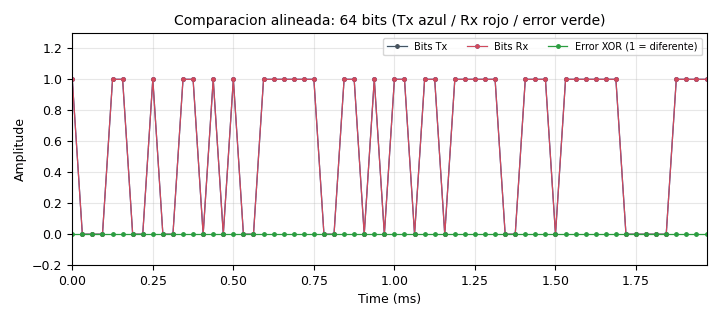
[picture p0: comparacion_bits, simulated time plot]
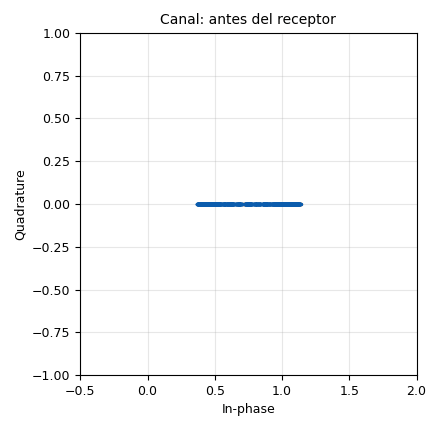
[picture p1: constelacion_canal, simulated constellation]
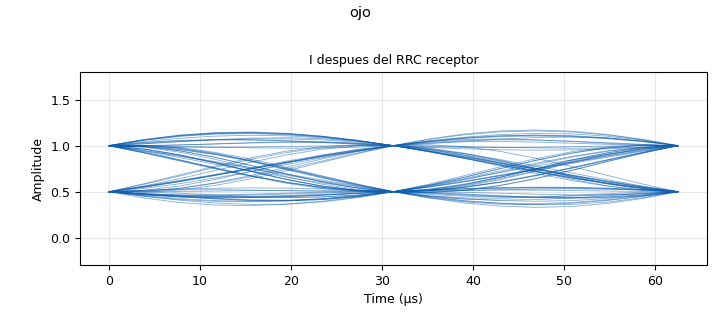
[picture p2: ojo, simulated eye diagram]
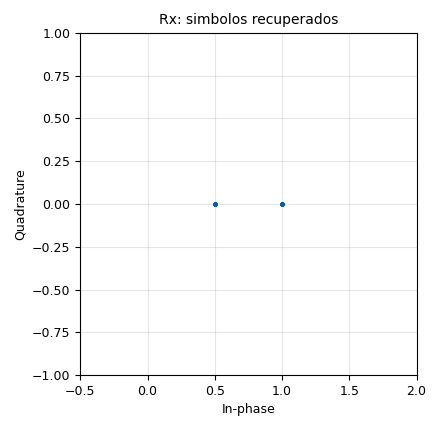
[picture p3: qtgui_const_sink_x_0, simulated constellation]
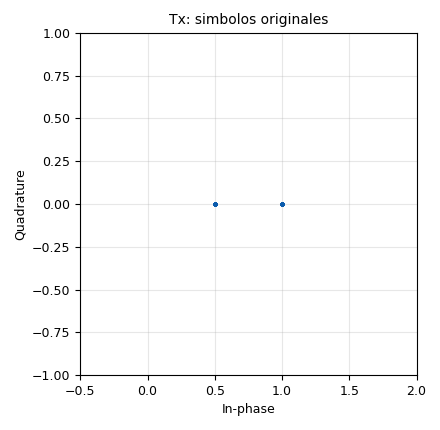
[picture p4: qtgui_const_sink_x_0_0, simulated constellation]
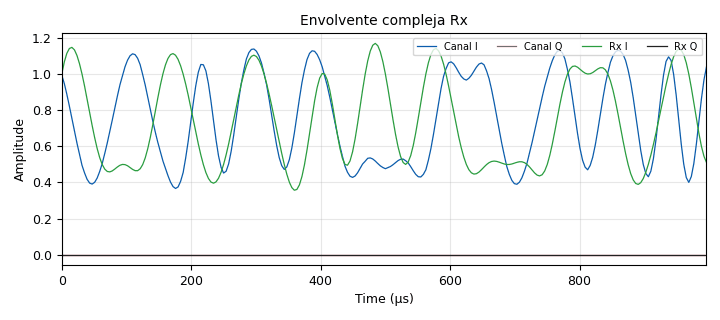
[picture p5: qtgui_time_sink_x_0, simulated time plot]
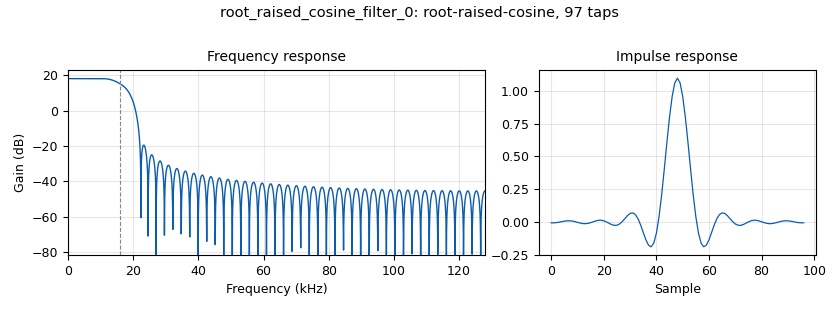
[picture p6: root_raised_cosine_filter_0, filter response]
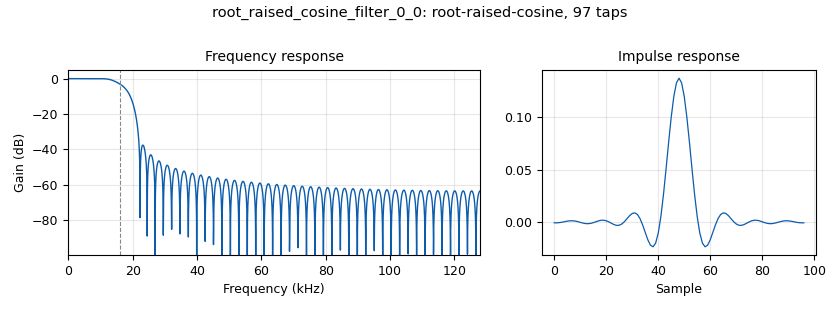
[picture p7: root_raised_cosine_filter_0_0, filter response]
options:
  parameters:
    author: Adaptacion de ASK_Guia2 para prueba sin hardware
    description: Version para probar modulacion ASK en GNU Radio Companion sin conectar USRP. Basada en el flujo de simulacion ASK de Guia 2.
    generate_options: qt_gui
    id: ASK_SIMULACION_SIN_USRP
    output_language: python
    title: ASK - Simulacion sin USRP - Tx, canal y Rx
  states: {}

blocks:
- name: M
  id: variable
  parameters:
    value: len(tabla_de_verdad_constelacion)
  states: {}
- name: Rb
  id: variable
  parameters:
    value: Rs*bps
  states: {}
- name: Rs
  id: variable
  parameters:
    value: '32000'
  states: {}
- name: Sps
  id: variable
  parameters:
    value: '8'
  states: {}
- name: beta
  id: variable
  parameters:
    value: '0.35'
  states: {}
- name: bps
  id: variable
  parameters:
    value: int(math.log(M,2))
  states: {}
- name: fft_size
  id: variable
  parameters:
    value: '2048'
  states: {}
- name: interferencia_amp
  id: variable_qtgui_range
  parameters:
    gui_hint: 1,1,1,2
    label: Amplitud interferencia (0 = apagada)
    start: '0'
    step: '0.05'
    stop: '1'
    value: '0'
  states: {}
- name: n_taps
  id: variable
  parameters:
    value: span*Sps+1
  states: {}
- name: noise_amp
  id: variable
  parameters:
    value: ruido_activo*math.sqrt(potencia_tx/10**(snr_db/10))
  states: {}
- name: potencia_tx
  id: variable
  parameters:
    value: 0.5625*sum(sum(taps_tx[p::Sps])**2 for p in range(Sps))/Sps + 0.0625*sum(t*t for t in taps_tx)/Sps
  states: {}
- name: ruido_activo
  id: variable_qtgui_check_box
  parameters:
    'false': '0'
    gui_hint: 0,0,1,1
    label: Activar ruido AWGN
    'true': '1'
    type: int
    value: '0'
  states: {}
- name: samp_rate
  id: variable
  parameters:
    value: Rs*Sps
  states: {}
- name: snr_db
  id: variable_qtgui_range
  parameters:
    gui_hint: 1,0,1,1
    label: SNR nominal (dB)
    start: '-4'
    step: '2'
    stop: '20'
    value: '8'
  states: {}
- name: span
  id: variable
  parameters:
    value: '12'
  states: {}
- name: tabla_de_verdad_constelacion
  id: variable
  parameters:
    value: (0.5+0j, 1.0+0j)
  states: {}
- name: taps_tx
  id: variable
  parameters:
    value: firdes.root_raised_cosine(Sps,samp_rate,Rs,beta,n_taps)
  states: {}
- name: alinear_rx
  id: blocks_skiphead
  parameters:
    num_items: n_taps-1
    type: complex
  states: {}
- name: analog_noise_source_x_0
  id: analog_noise_source_x
  parameters:
    amp: noise_amp
    noise_type: analog.GR_GAUSSIAN
    seed: '0'
    type: complex
  states: {}
- name: analog_random_source_x_0
  id: analog_random_source_x
  parameters:
    max: '2'
    min: '0'
    num_samps: '100000'
    repeat: 'True'
    type: byte
  states: {}
- name: analog_sig_source_x_0
  id: analog_sig_source_x
  parameters:
    amp: interferencia_amp
    freq: '1000'
    offset: '0'
    phase: '0'
    samp_rate: samp_rate
    type: complex
    waveform: analog.GR_SIN_WAVE
  states: {}
- name: ber_media
  id: blocks_moving_average_xx
  parameters:
    length: '10000'
    max_iter: '4000'
    scale: 1/10000
    type: float
  states: {}
- name: bits_rx_float
  id: blocks_uchar_to_float
  parameters: {}
  states: {}
- name: bits_to_symbols
  id: blocks_repack_bits_bb
  parameters:
    endianness: gr.GR_MSB_FIRST
    k: '1'
    l: bps
  states: {}
- name: bits_tx_float
  id: blocks_uchar_to_float
  parameters: {}
  states: {}
- name: blocks_add_xx_0
  id: blocks_add_xx
  parameters:
    type: complex
  states: {}
- name: blocks_add_xx_1
  id: blocks_add_xx
  parameters:
    type: complex
  states: {}
- name: blocks_complex_to_mag_0
  id: blocks_complex_to_mag
  parameters: {}
  states: {}
- name: blocks_float_to_uchar_0
  id: blocks_float_to_uchar
  parameters:
    bias: '0'
    scale: '1'
    vlen: '1'
  states: {}
- name: blocks_threshold_ff_0
  id: blocks_threshold_ff
  parameters:
    high: '0.75'
    init: '0'
    low: '0.75'
  states: {}
- name: comparacion_bits
  id: qtgui_time_sink_x
  parameters:
    entags: 'False'
    grid: 'True'
    gui_hint: vistas@0:0,0,1,1
    label1: Bits Tx
    label2: Bits Rx
    label3: Error XOR (1 = diferente)
    marker1: '0'
    marker2: '1'
    marker3: '0'
    name: '"Comparacion alineada: 64 bits (Tx azul / Rx rojo / error verde)"'
    nconnections: '3'
    size: '64'
    srate: Rb
    style2: '2'
    type: float
    width1: '2'
    width2: '2'
    ymax: '1.3'
    ymin: '-0.2'
  states: {}
- name: comparar_bits
  id: blocks_xor_xx
  parameters:
    type: byte
  states: {}
- name: constelacion_canal
  id: qtgui_const_sink_x
  parameters:
    grid: 'True'
    gui_hint: vistas@1:0,1,1,1
    label1: '"Señal ruidosa"'
    legend: 'False'
    name: '"Canal: antes del receptor"'
    size: '2048'
    type: complex
    xmin: '-0.5'
    ymax: '1'
    ymin: '-1'
  states: {}
- name: digital_chunks_to_symbols_xx_0
  id: digital_chunks_to_symbols_xx
  parameters:
    dimension: '1'
    in_type: byte
    out_type: complex
    symbol_table: tabla_de_verdad_constelacion
  states: {}
- name: enviar_bits_rx
  id: virtual_sink
  parameters:
    stream_id: bits_rx
  states: {}
- name: enviar_bits_tx
  id: virtual_sink
  parameters:
    stream_id: bits_tx
  states: {}
- name: enviar_canal
  id: virtual_sink
  parameters:
    stream_id: canal
  states: {}
- name: enviar_errores
  id: virtual_sink
  parameters:
    stream_id: errores
  states: {}
- name: enviar_ruido
  id: virtual_sink
  parameters:
    stream_id: ruido
  states: {}
- name: enviar_rx_filtrado
  id: virtual_sink
  parameters:
    stream_id: rx_filtrado
  states: {}
- name: enviar_tono
  id: virtual_sink
  parameters:
    stream_id: tono
  states: {}
- name: enviar_tx_rrc
  id: virtual_sink
  parameters:
    stream_id: tx_rrc
  states: {}
- name: errores_float
  id: blocks_uchar_to_float
  parameters: {}
  states: {}
- name: import_0
  id: import
  parameters:
    imports: import math; from gnuradio import gr; from gnuradio.filter import firdes; import numpy as np; np.random.seed(27145)
  states: {}
- name: muestrear
  id: blocks_keep_m_in_n
  parameters:
    m: '1'
    n: Sps
    offset: '0'
    type: complex
  states: {}
- name: nota_bits
  id: note
  parameters:
    note: 3. Bits y BER
  states: {}
- name: nota_config
  id: note
  parameters:
    note: 'beta/span: reiniciar'
  states: {}
- name: nota_psd
  id: note
  parameters:
    note: 4. PSD por Hz
  states: {}
- name: nota_rx
  id: note
  parameters:
    note: 2. Receptor
  states: {}
- name: nota_tx
  id: note
  parameters:
    note: 1. Tx y canal
  states: {}
- name: ojo
  id: qtgui_eye_sink_x
  parameters:
    grid: 'True'
    gui_hint: vistas@4:0,0,1,1
    label1: I despues del RRC receptor
    samp_per_symbol: Sps
    size: '1024'
    srate: samp_rate
    type: float
    ymax: '1.8'
    ymin: '-0.3'
  states: {}
- name: ojo_componente_i
  id: blocks_complex_to_real
  parameters: {}
  states: {}
- name: psd_canal
  id: logpwrfft_x
  parameters:
    average: 'True'
    avg_alpha: '0.2'
    fft_size: fft_size
    frame_rate: '20'
    ref_scale: 2*math.sqrt(samp_rate/fft_size)
    sample_rate: samp_rate
    shift: 'True'
    type: complex
  states: {}
- name: psd_ruido
  id: logpwrfft_x
  parameters:
    average: 'True'
    avg_alpha: '0.2'
    fft_size: fft_size
    frame_rate: '20'
    ref_scale: 2*math.sqrt(samp_rate/fft_size)
    sample_rate: samp_rate
    shift: 'True'
    type: complex
  states: {}
- name: psd_tono
  id: logpwrfft_x
  parameters:
    average: 'True'
    avg_alpha: '0.2'
    fft_size: fft_size
    frame_rate: '20'
    ref_scale: 2*math.sqrt(samp_rate/fft_size)
    sample_rate: samp_rate
    shift: 'True'
    type: complex
  states: {}
- name: psd_tx
  id: logpwrfft_x
  parameters:
    average: 'True'
    avg_alpha: '0.2'
    fft_size: fft_size
    frame_rate: '20'
    ref_scale: 2*math.sqrt(samp_rate/fft_size)
    sample_rate: samp_rate
    shift: 'True'
    type: complex
  states: {}
- name: qtgui_const_sink_x_0
  id: qtgui_const_sink_x
  parameters:
    grid: 'True'
    gui_hint: vistas@1:0,2,1,1
    label1: '"Señal ruidosa"'
    legend: 'False'
    name: '"Rx: simbolos recuperados"'
    size: '2048'
    type: complex
    xmin: '-0.5'
    ymax: '1'
    ymin: '-1'
  states: {}
- name: qtgui_const_sink_x_0_0
  id: qtgui_const_sink_x
  parameters:
    grid: 'True'
    gui_hint: vistas@1:0,0,1,1
    label1: '"Señal ruidosa"'
    legend: 'False'
    name: '"Tx: simbolos originales"'
    size: '2048'
    type: complex
    xmin: '-0.5'
    ymax: '1'
    ymin: '-1'
  states: {}
- name: qtgui_number_sink_0
  id: qtgui_number_sink
  parameters:
    autoscale: 'True'
    graph_type: qtgui.NUM_GRAPH_NONE
    gui_hint: 0,2,1,1
    label1: Fraccion de bits incorrectos
    min: '0'
    name: '"BER (ultimos 10000 bits)"'
    type: float
    update_time: '0.1'
  states: {}
- name: qtgui_time_sink_x_0
  id: qtgui_time_sink_x
  parameters:
    autoscale: 'True'
    grid: 'True'
    gui_hint: vistas@2:0,1,1,1
    label1: Canal I
    label2: Canal Q
    label3: Rx I
    label4: Rx Q
    name: '"Envolvente compleja Rx"'
    nconnections: '2'
    size: '256'
    srate: samp_rate
    type: complex
    ymax: '2'
    ymin: '-2'
  states: {}
- name: qtgui_time_sink_x_0_0
  id: qtgui_time_sink_x
  parameters:
    autoscale: 'True'
    grid: 'True'
    gui_hint: vistas@2:0,0,1,1
    label1: I
    label2: Q
    name: '"Envolvente compleja Tx"'
    size: '256'
    srate: samp_rate
    type: complex
    ymax: '2'
    ymin: '-2'
  states: {}
- name: recibir_bits_rx_bits_rx_float
  id: virtual_source
  parameters:
    stream_id: bits_rx
  states: {}
- name: recibir_bits_rx_comparar_bits
  id: virtual_source
  parameters:
    stream_id: bits_rx
  states: {}
- name: recibir_bits_tx_bits_tx_float
  id: virtual_source
  parameters:
    stream_id: bits_tx
  states: {}
- name: recibir_bits_tx_comparar_bits
  id: virtual_source
  parameters:
    stream_id: bits_tx
  states: {}
- name: recibir_canal_psd_canal
  id: virtual_source
  parameters:
    stream_id: canal
  states: {}
- name: recibir_canal_qtgui_time_sink_x_0
  id: virtual_source
  parameters:
    stream_id: canal
  states: {}
- name: recibir_canal_root_raised_cosine_filter_0_0
  id: virtual_source
  parameters:
    stream_id: canal
  states: {}
- name: recibir_errores_comparacion_bits
  id: virtual_source
  parameters:
    stream_id: errores
  states: {}
- name: recibir_ruido_psd_ruido
  id: virtual_source
  parameters:
    stream_id: ruido
  states: {}
- name: recibir_rx_filtrado_qtgui_time_sink_x_0
  id: virtual_source
  parameters:
    stream_id: rx_filtrado
  states: {}
- name: recibir_tono_psd_tono
  id: virtual_source
  parameters:
    stream_id: tono
  states: {}
- name: recibir_tx_rrc_psd_tx
  id: virtual_source
  parameters:
    stream_id: tx_rrc
  states: {}
- name: root_raised_cosine_filter_0
  id: root_raised_cosine_filter
  parameters:
    alpha: beta
    gain: Sps
    interp: Sps
    ntaps: n_taps
    samp_rate: samp_rate
    sym_rate: Rs
    type: interp_fir_filter_ccf
  states: {}
- name: root_raised_cosine_filter_0_0
  id: root_raised_cosine_filter
  parameters:
    alpha: beta
    decim: '1'
    gain: '1'
    ntaps: n_taps
    samp_rate: samp_rate
    sym_rate: Rs
    type: fir_filter_ccf
  states: {}
- name: throttle_0
  id: blocks_throttle2
  parameters:
    samples_per_second: samp_rate
    type: complex
  states: {}
- name: vista_psd
  id: qtgui_vector_sink_f
  parameters:
    grid: 'True'
    gui_hint: vistas@3:0,0,1,1
    label1: Tx
    label2: Canal
    label3: Ruido
    label4: Tono
    name: '"PSD: Tx, canal, ruido y tono"'
    nconnections: '4'
    ref_level: '-200'
    update_time: '0.1'
    vlen: fft_size
    x_axis_label: '"Frecuencia (kHz)"'
    x_start: '-samp_rate/2000'
    x_step: samp_rate/fft_size/1000
    y_axis_label: '"PSD (dB re u^2/Hz)"'
    ymax: '0'
    ymin: '-120'
  states: {}
- name: vistas
  id: qtgui_tab_widget
  parameters:
    gui_hint: 2,0,8,3
    label0: Bits Tx / Rx
    label1: Constelaciones
    label2: Tiempo
    label3: PSD
    label4: Diagrama de ojo
    num_tabs: '5'
  states: {}

connections:
- [alinear_rx, '0', muestrear, '0']
- [analog_noise_source_x_0, '0', blocks_add_xx_1, '1']
- [analog_noise_source_x_0, '0', enviar_ruido, '0']
- [analog_random_source_x_0, '0', bits_to_symbols, '0']
- [analog_sig_source_x_0, '0', blocks_add_xx_0, '1']
- [analog_sig_source_x_0, '0', enviar_tono, '0']
- [ber_media, '0', qtgui_number_sink_0, '0']
- [bits_rx_float, '0', comparacion_bits, '1']
- [bits_to_symbols, '0', digital_chunks_to_symbols_xx_0, '0']
- [bits_to_symbols, '0', enviar_bits_tx, '0']
- [bits_tx_float, '0', comparacion_bits, '0']
- [blocks_add_xx_0, '0', constelacion_canal, '0']
- [blocks_add_xx_0, '0', enviar_canal, '0']
- [blocks_add_xx_1, '0', blocks_add_xx_0, '0']
- [blocks_complex_to_mag_0, '0', blocks_threshold_ff_0, '0']
- [blocks_float_to_uchar_0, '0', enviar_bits_rx, '0']
- [blocks_threshold_ff_0, '0', blocks_float_to_uchar_0, '0']
- [comparar_bits, '0', errores_float, '0']
- [digital_chunks_to_symbols_xx_0, '0', qtgui_const_sink_x_0_0, '0']
- [digital_chunks_to_symbols_xx_0, '0', root_raised_cosine_filter_0, '0']
- [errores_float, '0', ber_media, '0']
- [errores_float, '0', enviar_errores, '0']
- [muestrear, '0', blocks_complex_to_mag_0, '0']
- [muestrear, '0', qtgui_const_sink_x_0, '0']
- [ojo_componente_i, '0', ojo, '0']
- [psd_canal, '0', vista_psd, '1']
- [psd_ruido, '0', vista_psd, '2']
- [psd_tono, '0', vista_psd, '3']
- [psd_tx, '0', vista_psd, '0']
- [recibir_bits_rx_bits_rx_float, '0', bits_rx_float, '0']
- [recibir_bits_rx_comparar_bits, '0', comparar_bits, '1']
- [recibir_bits_tx_bits_tx_float, '0', bits_tx_float, '0']
- [recibir_bits_tx_comparar_bits, '0', comparar_bits, '0']
- [recibir_canal_psd_canal, '0', psd_canal, '0']
- [recibir_canal_qtgui_time_sink_x_0, '0', qtgui_time_sink_x_0, '0']
- [recibir_canal_root_raised_cosine_filter_0_0, '0', root_raised_cosine_filter_0_0, '0']
- [recibir_errores_comparacion_bits, '0', comparacion_bits, '2']
- [recibir_ruido_psd_ruido, '0', psd_ruido, '0']
- [recibir_rx_filtrado_qtgui_time_sink_x_0, '0', qtgui_time_sink_x_0, '1']
- [recibir_tono_psd_tono, '0', psd_tono, '0']
- [recibir_tx_rrc_psd_tx, '0', psd_tx, '0']
- [root_raised_cosine_filter_0, '0', enviar_tx_rrc, '0']
- [root_raised_cosine_filter_0, '0', qtgui_time_sink_x_0_0, '0']
- [root_raised_cosine_filter_0, '0', throttle_0, '0']
- [root_raised_cosine_filter_0_0, '0', alinear_rx, '0']
- [root_raised_cosine_filter_0_0, '0', enviar_rx_filtrado, '0']
- [root_raised_cosine_filter_0_0, '0', ojo_componente_i, '0']
- [throttle_0, '0', blocks_add_xx_1, '0']

metadata:
  file_format: 1
  grc_version: v3.10.11.0-89-ga17f69e7
